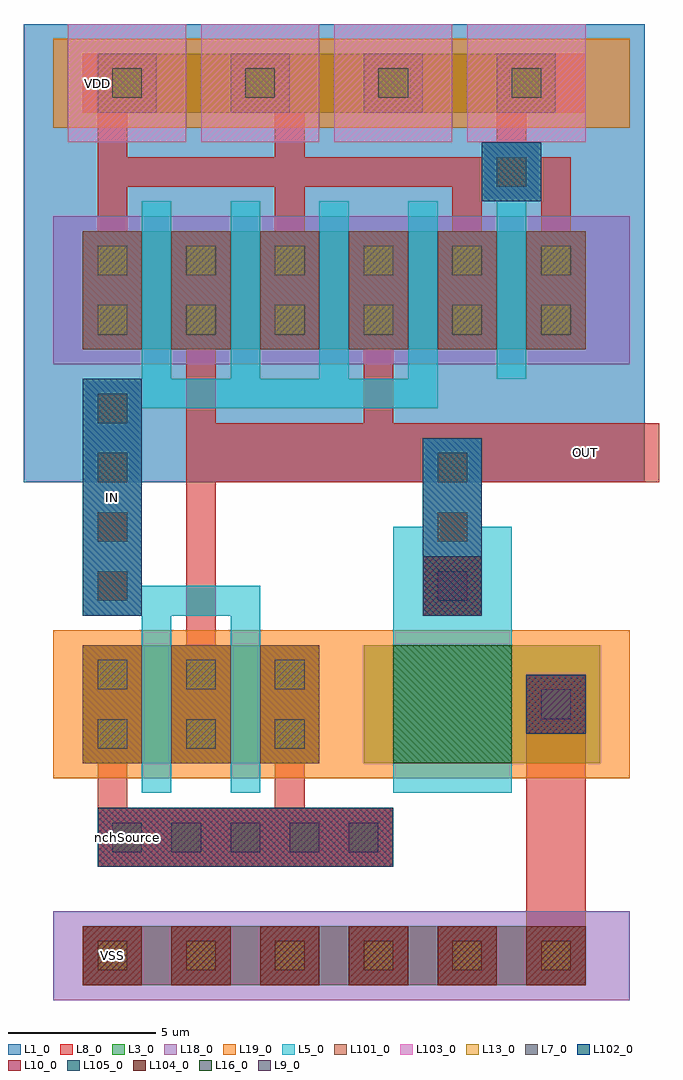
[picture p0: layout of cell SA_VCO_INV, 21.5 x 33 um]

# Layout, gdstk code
from math import pi, radians
import gdstk
lib = gdstk.Library(unit=1e-6, precision=1e-09)
def R(c, l, rs):  # rectangles x0, y0, x1, y1
    for r in rs: c.add(gdstk.rectangle(r[:2], r[2:], *l))
L1_0 = (1, 0)
L3_0 = (3, 0)
L5_0 = (5, 0)
L7_0 = (7, 0)
L8_0 = (8, 0)
L9_0 = (9, 0)
L10_0 = (10, 0)
L13_0 = (13, 0)
L16_0 = (16, 0)
L18_0 = (18, 0)
L19_0 = (19, 0)
L101_0 = (101, 0)
L102_0 = (102, 0)
L103_0 = (103, 0)
L104_0 = (104, 0)
L105_0 = (105, 0)

pcont_1 = lib.new_cell('pcont$1')
R(pcont_1, L5_0, [(-1,-1,1,1)])
R(pcont_1, L7_0, [(-0.5,-0.5,0.5,0.5)])
R(pcont_1, L8_0, [(-1,-1,1,1)])
R(pcont_1, L13_0, [(-0.5,-0.5,0.5,0.5)])
R(pcont_1, L102_0, [(-1,-1,1,1)])

dcont = lib.new_cell('dcont')
R(dcont, L3_0, [(-1,-1,1,1)])
R(dcont, L7_0, [(-0.5,-0.5,0.5,0.5)])
R(dcont, L8_0, [(-1,-1,1,1)])
R(dcont, L13_0, [(-0.5,-0.5,0.5,0.5)])
R(dcont, L101_0, [(-1,-1,1,1)])

nch_1 = lib.new_cell('Nch$1')
R(nch_1, L3_0, [(0,3,8,7)])
R(nch_1, L19_0, [(-0.5,2.5,8.5,7.5)])
nch_1.add(gdstk.FlexPath([(1,3),(1,7)], 2, ends="flush", simple_path=True, layer=8, datatype=0))  # L8_0
nch_1.add(gdstk.FlexPath([(4,3),(4,7)], 2, ends="flush", simple_path=True, layer=8, datatype=0))  # L8_0
nch_1.add(gdstk.FlexPath([(7,3),(7,7)], 2, ends="flush", simple_path=True, layer=8, datatype=0))  # L8_0
nch_1.add(gdstk.FlexPath([(1,1),(1,4)], 1, ends="flush", simple_path=True, layer=8, datatype=0))  # L8_0
nch_1.add(gdstk.FlexPath([(4,6),(4,10)], 1, ends="flush", simple_path=True, layer=8, datatype=0))  # L8_0
nch_1.add(gdstk.FlexPath([(7,1),(7,4)], 1, ends="flush", simple_path=True, layer=8, datatype=0))  # L8_0
nch_1.add(gdstk.FlexPath([(1,1),(7,1)], 1, ends="extended", simple_path=True, layer=8, datatype=0))  # L8_0
nch_1.add(gdstk.FlexPath([(2.5,3),(2.5,7)], 1, ends=(1, 1), simple_path=True, layer=5, datatype=0))  # L5_0
nch_1.add(gdstk.FlexPath([(5.5,3),(5.5,7)], 1, ends=(1, 1), simple_path=True, layer=5, datatype=0))  # L5_0
nch_1.add(gdstk.FlexPath([(2,8.5),(6,8.5)], 1, ends="flush", simple_path=True, layer=5, datatype=0))  # L5_0
nch_1.add(gdstk.Reference(dcont, (1,4)))
nch_1.add(gdstk.Reference(dcont, (1,6)))
nch_1.add(gdstk.Reference(dcont, (4,4)))
nch_1.add(gdstk.Reference(dcont, (4,6)))
nch_1.add(gdstk.Reference(dcont, (7,4)))
nch_1.add(gdstk.Reference(dcont, (7,6)))

dcont1 = lib.new_cell('dcont1')
R(dcont1, L3_0, [(-1,-1,1,1)])
R(dcont1, L7_0, [(-0.5,-0.5,0.5,0.5)])
R(dcont1, L8_0, [(-1,-1,1,1)])
R(dcont1, L13_0, [(-0.5,-0.5,0.5,0.5)])
R(dcont1, L101_0, [(-1,-1,1,1)])

psubcont = lib.new_cell('psubcont')
R(psubcont, L18_0, [(-1.5,-1.5,1.5,1.5)])
R(psubcont, L104_0, [(-1,-1,1,1)])
psubcont.add(gdstk.Reference(dcont1, (0,0)))

pch_2 = lib.new_cell('Pch$2')
R(pch_2, L1_0, [(-2,0,7,11.5)])
R(pch_2, L3_0, [(0,3,5,7)])
R(pch_2, L18_0, [(-0.5,2.5,5.5,7.5)])
pch_2.add(gdstk.FlexPath([(1,3),(1,7)], 2, ends="flush", simple_path=True, layer=8, datatype=0))  # L8_0
pch_2.add(gdstk.FlexPath([(4,3),(4,7)], 2, ends="flush", simple_path=True, layer=8, datatype=0))  # L8_0
pch_2.add(gdstk.FlexPath([(2.5,3),(2.5,7)], 1, ends=(1, 1), simple_path=True, layer=5, datatype=0))  # L5_0
pch_2.add(gdstk.Reference(dcont, (1,4)))
pch_2.add(gdstk.Reference(dcont, (1,6)))
pch_2.add(gdstk.Reference(dcont, (4,4)))
pch_2.add(gdstk.Reference(dcont, (4,6)))

pch_1 = lib.new_cell('Pch$1')
R(pch_1, L1_0, [(-2,-1.5,16,10)])
R(pch_1, L3_0, [(0,3,14,7)])
R(pch_1, L18_0, [(-0.5,2.5,14.5,7.5)])
pch_1.add(gdstk.FlexPath([(1,3),(1,7)], 2, ends="flush", simple_path=True, layer=8, datatype=0))  # L8_0
pch_1.add(gdstk.FlexPath([(4,3),(4,7)], 2, ends="flush", simple_path=True, layer=8, datatype=0))  # L8_0
pch_1.add(gdstk.FlexPath([(7,3),(7,7)], 2, ends="flush", simple_path=True, layer=8, datatype=0))  # L8_0
pch_1.add(gdstk.FlexPath([(10,3),(10,7)], 2, ends="flush", simple_path=True, layer=8, datatype=0))  # L8_0
pch_1.add(gdstk.FlexPath([(13,3),(13,7)], 2, ends="flush", simple_path=True, layer=8, datatype=0))  # L8_0
pch_1.add(gdstk.FlexPath([(1,6),(1,9)], 1, ends="flush", simple_path=True, layer=8, datatype=0))  # L8_0
pch_1.add(gdstk.FlexPath([(4,0),(4,4)], 1, ends="flush", simple_path=True, layer=8, datatype=0))  # L8_0
pch_1.add(gdstk.FlexPath([(7,6),(7,9)], 1, ends="flush", simple_path=True, layer=8, datatype=0))  # L8_0
pch_1.add(gdstk.FlexPath([(1,9),(7,9)], 1, ends="extended", simple_path=True, layer=8, datatype=0))  # L8_0
pch_1.add(gdstk.FlexPath([(10,0),(10,4)], 1, ends="flush", simple_path=True, layer=8, datatype=0))  # L8_0
pch_1.add(gdstk.FlexPath([(4,0),(10,0)], 1, ends="extended", simple_path=True, layer=8, datatype=0))  # L8_0
pch_1.add(gdstk.FlexPath([(13,6),(13,9)], 1, ends="flush", simple_path=True, layer=8, datatype=0))  # L8_0
pch_1.add(gdstk.FlexPath([(7,9),(13,9)], 1, ends="extended", simple_path=True, layer=8, datatype=0))  # L8_0
pch_1.add(gdstk.FlexPath([(2.5,3),(2.5,7)], 1, ends=(1, 1), simple_path=True, layer=5, datatype=0))  # L5_0
pch_1.add(gdstk.FlexPath([(5.5,3),(5.5,7)], 1, ends=(1, 1), simple_path=True, layer=5, datatype=0))  # L5_0
pch_1.add(gdstk.FlexPath([(8.5,3),(8.5,7)], 1, ends=(1, 1), simple_path=True, layer=5, datatype=0))  # L5_0
pch_1.add(gdstk.FlexPath([(11.5,3),(11.5,7)], 1, ends=(1, 1), simple_path=True, layer=5, datatype=0))  # L5_0
pch_1.add(gdstk.FlexPath([(2,1.5),(6,1.5)], 1, ends="flush", simple_path=True, layer=5, datatype=0))  # L5_0
pch_1.add(gdstk.FlexPath([(5,1.5),(9,1.5)], 1, ends="flush", simple_path=True, layer=5, datatype=0))  # L5_0
pch_1.add(gdstk.FlexPath([(8,1.5),(12,1.5)], 1, ends="flush", simple_path=True, layer=5, datatype=0))  # L5_0
pch_1.add(gdstk.Reference(dcont, (1,4)))
pch_1.add(gdstk.Reference(dcont, (1,6)))
pch_1.add(gdstk.Reference(dcont, (4,4)))
pch_1.add(gdstk.Reference(dcont, (4,6)))
pch_1.add(gdstk.Reference(dcont, (7,4)))
pch_1.add(gdstk.Reference(dcont, (7,6)))
pch_1.add(gdstk.Reference(dcont, (10,4)))
pch_1.add(gdstk.Reference(dcont, (10,6)))
pch_1.add(gdstk.Reference(dcont, (13,4)))
pch_1.add(gdstk.Reference(dcont, (13,6)))

pcont = lib.new_cell('pcont')
R(pcont, L5_0, [(-1,-1,1,1)])
R(pcont, L7_0, [(-0.5,-0.5,0.5,0.5)])
R(pcont, L8_0, [(-1,-1,1,1)])
R(pcont, L13_0, [(-0.5,-0.5,0.5,0.5)])
R(pcont, L102_0, [(-1,-1,1,1)])

via = lib.new_cell('Via')
R(via, L8_0, [(-1,-1,1,1)])
R(via, L9_0, [(-0.5,-0.5,0.5,0.5)])
R(via, L10_0, [(-1,-1,1,1)])
R(via, L13_0, [(-0.5,-0.5,0.5,0.5)])
R(via, L105_0, [(-1,-1,1,1)])

ndiff_cap = lib.new_cell('Ndiff_cap')
R(ndiff_cap, L3_0, [(0,-1,4,7)])
R(ndiff_cap, L5_0, [(-4,0,5,4)])
R(ndiff_cap, L16_0, [(0,0,4,4)])
R(ndiff_cap, L19_0, [(-0.5,-1.5,4.5,7.5)])
ndiff_cap.add(gdstk.Reference(pcont, (-2,2)))
ndiff_cap.add(gdstk.Reference(via, (-2,2)))
ndiff_cap.add(gdstk.Reference(dcont, (2,5.5)))
ndiff_cap.add(gdstk.Reference(via, (2,5.5)))

nsubcont = lib.new_cell('nsubcont')
R(nsubcont, L1_0, [(-2,-2,2,2)])
R(nsubcont, L19_0, [(-1.5,-1.5,1.5,1.5)])
R(nsubcont, L103_0, [(-2,-2,2,2)])
nsubcont.add(gdstk.Reference(dcont1, (0,0)))

via_1 = lib.new_cell('Via$1')
R(via_1, L8_0, [(-1,-1,1,1)])
R(via_1, L9_0, [(-0.5,-0.5,0.5,0.5)])
R(via_1, L10_0, [(-1,-1,1,1)])
R(via_1, L13_0, [(-0.5,-0.5,0.5,0.5)])
R(via_1, L105_0, [(-1,-1,1,1)])

sa_vco_inv = lib.new_cell('SA_VCO_INV')
R(sa_vco_inv, L1_0, [(-1.5,17.5,19.5,33)])
R(sa_vco_inv, L3_0, [(0.5,0.5,17.5,2.5), (1,30,16.5,32)])
R(sa_vco_inv, L18_0, [(-0.5,0,19,3), (-0.5,21.5,19,26.5)])
R(sa_vco_inv, L19_0, [(-0.5,7.5,19,12.5), (9,7.5,9.5,12.5), (-0.5,29.5,19,32.5)])
sa_vco_inv.add(gdstk.FlexPath([(4.5,18.5),(20,18.5)], 2, ends="flush", simple_path=True, layer=8, datatype=0))  # L8_0
sa_vco_inv.add(gdstk.FlexPath([(4.5,15),(4.5,19)], 1, ends="flush", simple_path=True, layer=8, datatype=0))  # L8_0
sa_vco_inv.add(gdstk.FlexPath([(0.5,1.5),(17.5,1.5)], 2, ends="flush", simple_path=True, layer=8, datatype=0))  # L8_0
sa_vco_inv.add(gdstk.FlexPath([(16.5,10),(16.5,1.5)], 2, ends="flush", simple_path=True, layer=8, datatype=0))  # L8_0
sa_vco_inv.add(gdstk.FlexPath([(16.5,25),(16.5,28),(14,28)], 1, ends="flush", simple_path=True, layer=8, datatype=0))  # L8_0
sa_vco_inv.add(gdstk.FlexPath([(0.5,31),(17.5,31)], 2, ends="flush", simple_path=True, layer=8, datatype=0))  # L8_0
sa_vco_inv.add(gdstk.FlexPath([(7.5,28),(7.5,31)], 1, ends="flush", simple_path=True, layer=8, datatype=0))  # L8_0
sa_vco_inv.add(gdstk.FlexPath([(15,28),(15,31)], 1, ends="flush", simple_path=True, layer=8, datatype=0))  # L8_0
sa_vco_inv.add(gdstk.FlexPath([(1.5,28),(1.5,31)], 1, ends="flush", simple_path=True, layer=8, datatype=0))  # L8_0
r = gdstk.Reference(pcont_1, (1.5,14)); r.repetition = gdstk.Repetition(1, 4, v1=(0,0), v2=(0,2)); sa_vco_inv.add(r)
sa_vco_inv.add(gdstk.Reference(nch_1, (0.5,5)))
sa_vco_inv.add(gdstk.Reference(pcont_1, (13,16)))
sa_vco_inv.add(gdstk.Reference(pcont_1, (13,18)))
r = gdstk.Reference(psubcont, (1.5,1.5)); r.repetition = gdstk.Repetition(6, 1, v1=(3,0), v2=(0,0)); sa_vco_inv.add(r)
sa_vco_inv.add(gdstk.Reference(pch_2, (17.5,29), rotation=pi))
sa_vco_inv.add(gdstk.Reference(pch_1, (0.5,19)))
sa_vco_inv.add(gdstk.Reference(pcont_1, (15,28)))
sa_vco_inv.add(gdstk.Reference(ndiff_cap, (11,12), rotation=3*pi/2))
r = gdstk.Reference(nsubcont, (2,31)); r.repetition = gdstk.Repetition(4, 1, v1=(4.5,0), v2=(0,0)); sa_vco_inv.add(r)
r = gdstk.Reference(via_1, (2,5.5)); r.repetition = gdstk.Repetition(5, 1, v1=(2,0), v2=(0,0)); sa_vco_inv.add(r)
sa_vco_inv.add(gdstk.Label('VDD', (1,31), layer=8, texttype=0))
sa_vco_inv.add(gdstk.Label('VSS', (1.5,1.5), layer=8, texttype=0))
sa_vco_inv.add(gdstk.Label('IN', (1.5,17), layer=8, texttype=0))
sa_vco_inv.add(gdstk.Label('OUT', (17.5,18.5), layer=8, texttype=0))
sa_vco_inv.add(gdstk.Label('nchSource', (2,5.5), layer=10, texttype=0))

lib.write_gds('SA_VCO_INV.gds')
